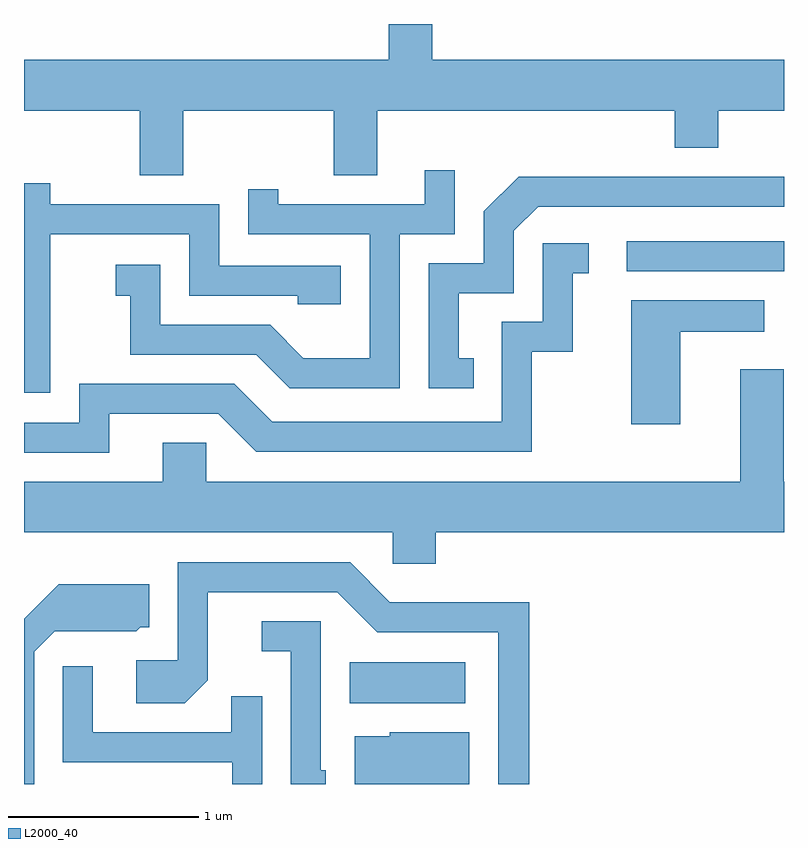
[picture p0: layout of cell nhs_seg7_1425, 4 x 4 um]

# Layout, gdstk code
import gdstk
lib = gdstk.Library(unit=1e-6, precision=1e-09)
def R(c, l, rs):  # rectangles x0, y0, x1, y1
    for r in rs: c.add(gdstk.rectangle(r[:2], r[2:], *l))
def P(c, l, *ps):  # polygons
    for p in ps: c.add(gdstk.Polygon(p, *l))
L2000_40 = (2000, 40)

nhs_seg7_1425 = lib.new_cell('nhs_seg7_1425')
R(nhs_seg7_1425, L2000_40, [(229.326,1786.676,229.934,1786.894), (230.783,1788.951,231.611,1789.109)])
P(nhs_seg7_1425, L2000_40, [(228.449,1789.796),(229.241,1789.796),(229.241,1789.456),(229.469,1789.456),(229.469,1789.796),(231.036,1789.796),(231.036,1789.601),(231.264,1789.601),(231.264,1789.796),(231.611,1789.796),(231.611,1790.064),(229.759,1790.064),(229.759,1790.252),(229.531,1790.252),(229.531,1790.064),(227.611,1790.064),(227.611,1789.796),(228.221,1789.796),(228.221,1789.456),(228.449,1789.456)],
  [(229.589,1789.146),(229.879,1789.146),(229.879,1789.483),(229.721,1789.483),(229.721,1789.304),(228.949,1789.304),(228.949,1789.383),(228.791,1789.383),(228.791,1789.146),(229.431,1789.146),(229.431,1788.494),(229.082,1788.494),(228.907,1788.669),(228.329,1788.669),(228.329,1788.984),(228.093,1788.984),(228.093,1788.821),(228.171,1788.821),(228.171,1788.511),(228.834,1788.511),(229.009,1788.336),(229.589,1788.336)],
  [(229.978,1788.494),(229.899,1788.494),(229.899,1788.836),(230.189,1788.836),(230.189,1789.164),(230.317,1789.291),(231.611,1789.291),(231.611,1789.449),(230.214,1789.449),(230.031,1789.267),(230.031,1788.994),(229.741,1788.994),(229.741,1788.336),(229.978,1788.336)],
  [(227.749,1789.146),(228.481,1789.146),(228.481,1788.821),(229.051,1788.821),(229.051,1788.776),(229.279,1788.776),(229.279,1788.979),(228.639,1788.979),(228.639,1789.304),(227.749,1789.304),(227.749,1789.414),(227.611,1789.414),(227.611,1788.311),(227.749,1788.311)],
  [(228.059,1788.201),(228.634,1788.201),(228.834,1788.001),(230.284,1788.001),(230.284,1788.526),(230.499,1788.526),(230.499,1788.941),(230.583,1788.941),(230.583,1789.099),(230.341,1789.099),(230.341,1788.684),(230.126,1788.684),(230.126,1788.159),(228.917,1788.159),(228.717,1788.359),(227.901,1788.359),(227.901,1788.154),(227.611,1788.154),(227.611,1787.996),(228.059,1787.996)],
  [(231.064,1788.631),(231.508,1788.631),(231.508,1788.799),(230.806,1788.799),(230.806,1788.146),(231.064,1788.146)],
  [(229.779,1787.576),(231.611,1787.576),(231.611,1787.844),(231.609,1787.844),(231.609,1788.434),(231.381,1788.434),(231.381,1787.844),(228.569,1787.844),(228.569,1788.049),(228.341,1788.049),(228.341,1787.844),(227.611,1787.844),(227.611,1787.576),(229.551,1787.576),(229.551,1787.411),(229.779,1787.411)],
  [(230.269,1787.209),(229.537,1787.209),(229.327,1787.419),(228.421,1787.419),(228.421,1786.904),(228.201,1786.904),(228.201,1786.676),(228.457,1786.676),(228.579,1786.799),(228.579,1787.261),(229.259,1787.261),(229.469,1787.051),(230.106,1787.051),(230.106,1786.252),(230.269,1786.252)],
  [(227.664,1786.949),(227.772,1787.056),(228.202,1787.056),(228.222,1787.076),(228.269,1787.076),(228.269,1787.304),(227.794,1787.304),(227.611,1787.122),(227.611,1786.252),(227.664,1786.252)],
  [(229.199,1786.324),(229.174,1786.324),(229.174,1787.109),(228.863,1787.109),(228.863,1786.951),(229.016,1786.951),(229.016,1786.252),(229.199,1786.252)],
  [(228.864,1786.713),(228.701,1786.713),(228.701,1786.524),(227.974,1786.524),(227.974,1786.873),(227.816,1786.873),(227.816,1786.366),(228.706,1786.366),(228.706,1786.252),(228.864,1786.252)],
  [(229.954,1786.524),(229.536,1786.524),(229.536,1786.504),(229.351,1786.504),(229.351,1786.252),(229.954,1786.252)])

lib.write_gds('nhs_seg7_1425.gds')
